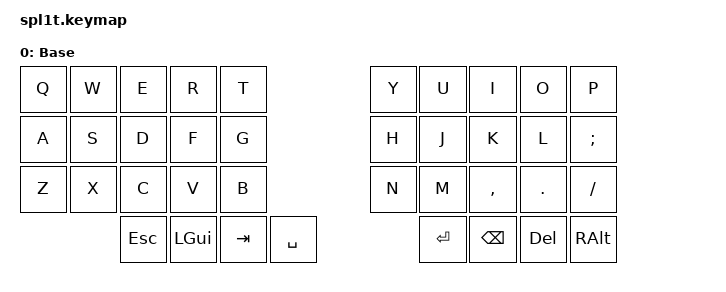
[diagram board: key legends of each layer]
#include <behaviors.dtsi>
#include <dt-bindings/zmk/keys.h>

/ {
    keymap {
        compatible = "zmk,keymap";

        default_layer {
            display-name = "Base";
            bindings = <
                &kp Q &kp W &kp E &kp R &kp T                   &kp Y &kp U &kp I &kp O &kp P
                &kp A &kp S &kp D &kp F &kp G                   &kp H &kp J &kp K &kp L &kp SEMI
                &kp Z &kp X &kp C &kp V &kp B                   &kp N &kp M &kp COMMA &kp DOT &kp SLASH
                          &kp ESC &kp LGUI &kp TAB &kp SPACE    &kp ENTER &kp BSPC &kp DEL &kp RALT
            >;
        };
    };
};
